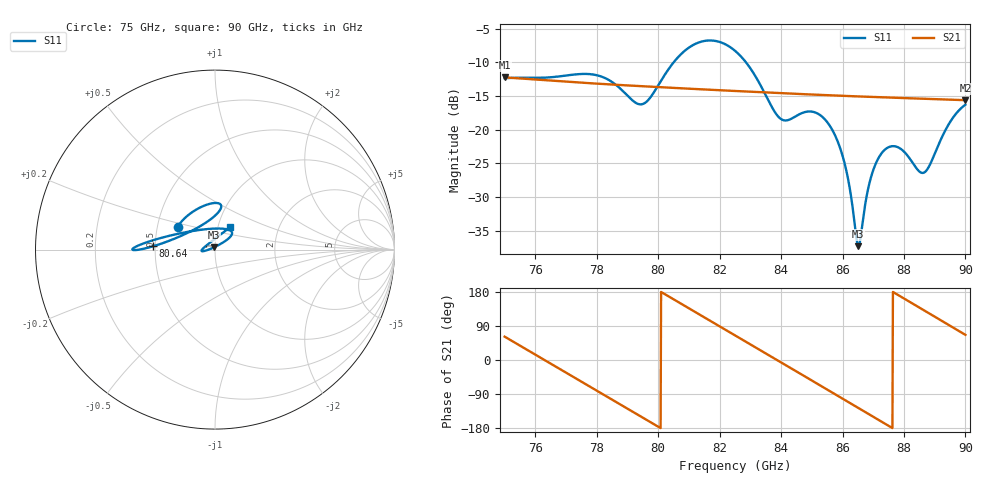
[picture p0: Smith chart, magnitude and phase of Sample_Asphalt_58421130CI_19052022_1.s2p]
!SWISSto12 MCK measurement data
!name=Sample_Asphalt_58421130CI_19052022_1
!thickness[mm]=18.000
# GHz S RI R 50.0
!freq ReS11 ImS11 ReS21 ImS21 ReS12 ImS12 ReS22 ImS22
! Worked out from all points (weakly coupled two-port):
!   961 points, 75 GHz to 90 GHz, reference 50 ohm
!   highest |S21| = -12.22 dB at 75 GHz (marker M1); lowest = -15.6 dB at 90 GHz (marker M2)
!   lowest |S11| = -37.3 dB at 86.52 GHz (marker M3), VSWR 1.03, Z = 49.4 + j1.22 ohm
!   |S11| at or under -10 dB: start of sweep to 80.5 GHz; 82.86 GHz to end of sweep
!   S12 and S22 are empty: the file has one direction only
!   S11 on the Smith chart (normalised r, x): 75 GHz: 0.64, +0.17; 80.64 GHz: 0.49, +0.02; 90 GHz: 1.14, +0.30
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75  -0.2074 0.1232  0.1161 0.2155  0 0  0 0
76.23438  -0.1395 0.1997  0.2333 0.0124  0 0  0 0
77.5  -0.0032 0.2596  0.1216 -0.1878  0 0  0 0
78.48438  0.0305 0.2253  -0.052 -0.2104  0 0  0 0
79.39062  -0.0723 0.1366  -0.177 -0.1149  0 0  0 0
80  -0.2014 0.071  -0.207 -0.0145  0 0  0 0
80.64062  -0.3442 0.0187  -0.1825 0.0908  0 0  0 0
81.5625  -0.4589 -0.00137  -0.067 0.1871  0 0  0 0
82.5  -0.3841 0.0394  0.0817 0.1761  0 0  0 0
83.96875  -0.04 0.1146  0.1865 -0.0157  0 0  0 0
85  0.0923 0.1004  0.1071 -0.1479  0 0  0 0
85.48438  0.0879 0.0746  0.0399 -0.1762  0 0  0 0
85.90625  0.0575 0.0479  -0.0232 -0.1775  0 0  0 0
86.17188  0.0309 0.0315  -0.0614 -0.1671  0 0  0 0
86.45312  0.000722 0.0156  -0.098 -0.1474  0 0  0 0
86.51562  -0.00577 0.0124  -0.1054 -0.1419  0 0  0 0
86.96875  -0.0475 -0.00427  -0.1491 -0.0921  0 0  0 0
87.5  -0.0737 -0.00844  -0.1725 -0.0191  0 0  0 0
87.89062  -0.0722 0.000156  -0.1683 0.0369  0 0  0 0
88.65625  -0.0252 0.0409  -0.1114 0.1281  0 0  0 0
89.48438  0.052 0.0997  -0.00343 0.1672  0 0  0 0
90  0.0853 0.1275  0.0664 0.1519  0 0  0 0
